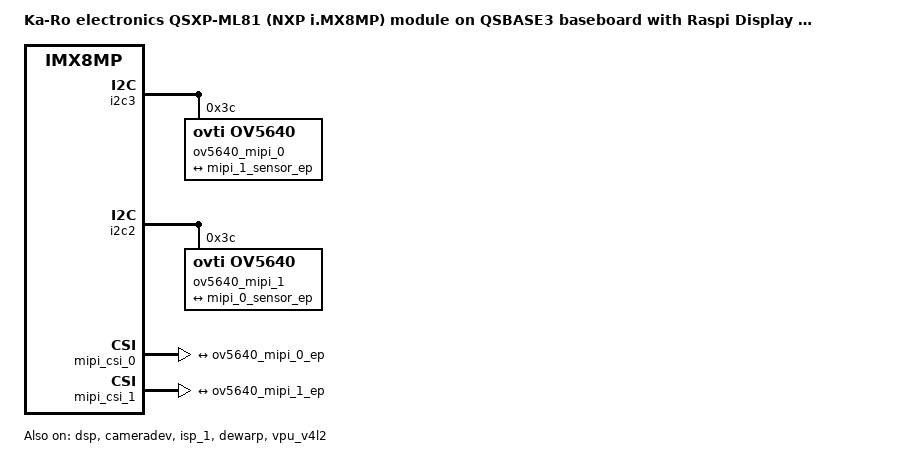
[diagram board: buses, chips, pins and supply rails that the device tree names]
// SPDX-License-Identifier: (GPL-2.0 OR MIT)
/*
 * Copyright (C) 2021 Markus Bauer <mb@karo-electronics.de>
 *
 */

/dts-v1/;

#include "imx8mp-qsxp-ml81-qsbase3-raspi-display.dts"

/ {
	model = "Ka-Ro electronics QSXP-ML81 (NXP i.MX8MP) module on QSBASE3 baseboard with Raspi Display and OV5640";
};

&dsp {
	status = "okay";
};

&i2c3 {
	ov5640_mipi_0: ov5640_mipi@3c {
		compatible = "ovti,ov5640";
		reg = <0x3c>;
	
		pinctrl-names = "default";
		clocks = <&clk IMX8MP_CLK_IPP_DO_CLKO1>;
		clock-names = "xclk";
		assigned-clocks = <&clk IMX8MP_CLK_IPP_DO_CLKO1>;
		assigned-clock-parents = <&clk IMX8MP_CLK_24M>;
		assigned-clock-rates = <24000000>;
		csi_id = <1>;
//		powerdown-gpios = <&gpio4 19 GPIO_ACTIVE_HIGH>;
//		reset-gpios = <&gpio4 18 GPIO_ACTIVE_LOW>;
		mclk = <24000000>;
		mclk_source = <0>;	
/* 		virtual-channel;	*/	
/* 		mipi_csi;		*/
		
		status = "okay";
		
		port@1 {
			reg=<0x01>;
			ov5640_mipi_1_ep: endpoint {
			remote-endpoint = <&mipi_1_sensor_ep>;
			bus-type = <4>;
			};
		};
	};

};

&i2c2 {
	ov5640_mipi_1: ov5640_mipi@3c {
		compatible = "ovti,ov5640";
		reg = <0x3c>;
	
		pinctrl-names = "default";
		clocks = <&clk IMX8MP_CLK_IPP_DO_CLKO1>;
		clock-names = "xclk";
		assigned-clocks = <&clk IMX8MP_CLK_IPP_DO_CLKO1>;
		assigned-clock-parents = <&clk IMX8MP_CLK_24M>;
		assigned-clock-rates = <24000000>;
		csi_id = <0>;
//		powerdown-gpios = <&gpio4 19 GPIO_ACTIVE_HIGH>;
//		reset-gpios = <&gpio4 18 GPIO_ACTIVE_LOW>;
		mclk = <24000000>;
		mclk_source = <0>;	
//		virtual-channel;		
//		mipi_csi;
		
		status = "okay";
		
		port@0 {
			reg=<0x00>;
			ov5640_mipi_0_ep: endpoint {
			remote-endpoint = <&mipi_0_sensor_ep>;
			bus-type = <4>;
			};
		};
	};};

&mipi_csi_0 {
	status = "okay";
	clock-frequency = <594000000>; 

	port@0 {
		reg=<0x00>;
		mipi_0_sensor_ep: endpoint {
			remote-endpoint = <&ov5640_mipi_0_ep>;
			bus-width = <4>;
			data-lanes = <4>;
			csis-hs-settle = <13>;
			csis-clk-settle = <2>;
			csis-wclk;
			bus-type = <4>;
		};
	};
};

&mipi_csi_1 {
	status = "okay";
//	clock-frequency = <297000000>; 
	clock-frequency = <594000000>; 

	port@1 {
		reg=<0x01>;
		mipi_1_sensor_ep: endpoint {
			remote-endpoint = <&ov5640_mipi_1_ep>;
			bus-width = <4>;
			data-lanes = <4>;
			csis-hs-settle = <13>;
			csis-clk-settle = <2>;
			csis-wclk;
			bus-type = <4>;
		};
	};


};

&cameradev {
	status = "okay";
};

&isi_0 {
	status = "disabled";

	cap_device {
		status = "okay";
	};

	m2m_device {
		status = "okay";
	};
};

&isi_1 {
	status = "disabled";

	cap_device {
		status = "okay";
	};

	m2m_device {
		status = "okay";
	};
};

&isp_0 {
	status = "disabled";
};

&isp_1 {
	status = "okay";
};

&dewarp {
	status = "okay";
};

&vpu_v4l2 {
	status = "okay";
};
